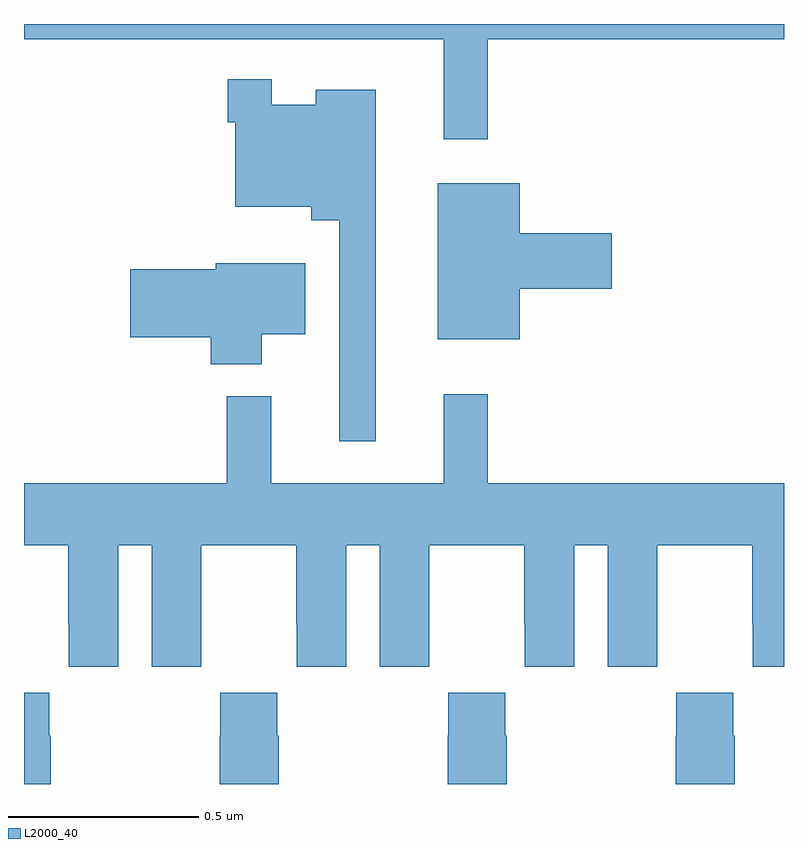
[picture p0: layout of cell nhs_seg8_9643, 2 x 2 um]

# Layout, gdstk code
import gdstk
lib = gdstk.Library(unit=1e-6, precision=1e-09)
def P(c, l, *ps):  # polygons
    for p in ps: c.add(gdstk.Polygon(p, *l))
L2000_40 = (2000, 40)

nhs_seg8_9643 = lib.new_cell('nhs_seg8_9643')
P(nhs_seg8_9643, L2000_40, [(239,1089.86),(240.104,1089.86),(240.104,1089.597),(240.221,1089.597),(240.221,1089.86),(241,1089.86),(241,1089.9),(239,1089.9)],
  [(239.926,1089.727),(239.768,1089.727),(239.768,1089.688),(239.652,1089.688),(239.652,1089.754),(239.536,1089.754),(239.536,1089.641),(239.556,1089.641),(239.556,1089.419),(239.756,1089.419),(239.756,1089.383),(239.829,1089.383),(239.829,1088.802),(239.926,1088.802)],
  [(240.304,1089.203),(240.547,1089.203),(240.547,1089.35),(240.304,1089.35),(240.304,1089.481),(240.089,1089.481),(240.089,1089.071),(240.304,1089.071)],
  [(239.626,1089.083),(239.74,1089.083),(239.74,1089.271),(239.504,1089.271),(239.504,1089.254),(239.28,1089.254),(239.28,1089.076),(239.492,1089.076),(239.492,1089.005),(239.626,1089.005)],
  [(239,1088.528),(239.117,1088.528),(239.117,1088.32),(239.118,1088.32),(239.118,1088.208),(239.248,1088.208),(239.248,1088.528),(239.336,1088.528),(239.336,1088.208),(239.466,1088.208),(239.466,1088.32),(239.467,1088.32),(239.467,1088.528),(239.717,1088.528),(239.717,1088.32),(239.718,1088.32),(239.718,1088.208),(239.848,1088.208),(239.848,1088.528),(239.936,1088.528),(239.936,1088.208),(240.066,1088.208),(240.066,1088.32),(240.067,1088.32),(240.067,1088.528),(240.317,1088.528),(240.317,1088.32),(240.318,1088.32),(240.318,1088.208),(240.448,1088.208),(240.448,1088.528),(240.536,1088.528),(240.536,1088.208),(240.666,1088.208),(240.666,1088.32),(240.667,1088.32),(240.667,1088.528),(240.917,1088.528),(240.917,1088.32),(240.918,1088.32),(240.918,1088.208),(241,1088.208),(241,1088.692),(240.221,1088.692),(240.221,1088.926),(240.104,1088.926),(240.104,1088.692),(239.651,1088.692),(239.651,1088.92),(239.533,1088.92),(239.533,1088.692),(239,1088.692)],
  [(239.07,1088.027),(239.067,1088.027),(239.067,1088.14),(239,1088.14),(239,1087.9),(239.07,1087.9)],
  [(240.27,1088.027),(240.267,1088.027),(240.267,1088.14),(240.117,1088.14),(240.117,1088.027),(240.115,1088.027),(240.115,1087.9),(240.27,1087.9)],
  [(239.67,1088.027),(239.667,1088.027),(239.667,1088.14),(239.517,1088.14),(239.517,1088.027),(239.515,1088.027),(239.515,1087.9),(239.67,1087.9)],
  [(240.87,1088.027),(240.867,1088.027),(240.867,1088.14),(240.717,1088.14),(240.717,1088.027),(240.715,1088.027),(240.715,1087.9),(240.87,1087.9)])

lib.write_gds('nhs_seg8_9643.gds')
